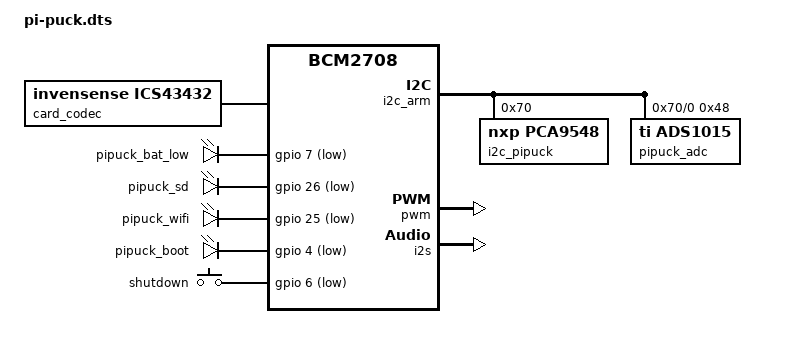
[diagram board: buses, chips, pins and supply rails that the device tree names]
/dts-v1/;
/plugin/;

/ {
	compatible = "brcm,bcm2708";

	/* LEDs (on Raspberry Pi pins) */
	fragment@0 {
		target-path = "/soc";
		__overlay__ {
			pipuck_leds {
				compatible = "gpio-leds";
				pipuck_bat_low {
					label = "pipuck_bat_low";
					gpios = <&gpio 7 1>;
					linux,default-trigger = "none";
					default-state = "off";
				};
				pipuck_sd {
					label = "pipuck_sd";
					gpios = <&gpio 26 1>;
					linux,default-trigger = "mmc0";
				};
				pipuck_wifi {
					label = "pipuck_wifi";
					gpios = <&gpio 25 1>;
					linux,default-trigger = "netdev";
				};
				pipuck_boot {
					label = "pipuck_boot";
					gpios = <&gpio 4 1>;
					linux,default-trigger = "heartbeat";
				};
			};
		};
	};

	/* Shutdown button key */
	fragment@1 {
		target-path = "/soc";
		__overlay__ {
			pipuck_shutdown_key {
				compatible = "gpio-keys";
				pipuck_shutdown: pipuck_shutdown {
					label = "shutdown";
					linux,code = <116>; // KEY_POWER
					gpios = <&gpio 6 1>;
					debounce-interval = <1000>;
				};
			};
		};
	};

	/* Disable Bluetooth to free up UART */
	fragment@2 {
		target = <&uart1>;
		__dormant__ {
			status = "disabled";
		};
	};
	fragment@3 {
		target = <&uart0>;
		__dormant__ {
			pinctrl-names = "default";
			pinctrl-0 = <&uart0_pins>;
			status = "okay";
		};
	};
	fragment@4 {
		target = <&uart0_pins>;
		__dormant__ {
			brcm,pins;
			brcm,function;
			brcm,pull;
		};
	};
	fragment@5 {
		target-path = "/aliases";
		__dormant__ {
			serial0 = "/soc/serial@7e201000";
			serial1 = "/soc/serial@7e215040";
		};
	};

	/* I2C devices */
	fragment@6 {
		target = <&i2c_arm>;
		__overlay__ {
			#address-cells = <1>;
			#size-cells = <0>;
			status = "okay";
			i2c_pipuck: i2c-switch@70 {
				compatible = "nxp,pca9548";
				#address-cells = <1>;
				#size-cells = <0>;
				reg = <0x70>;
				i2c_pipuck_0: i2c@0 {
					#address-cells = <1>;
					#size-cells = <0>;
					reg = <0>;
					/* Pi-puck board devices */
					/* FT903 I2C slave */
					/* ADC */
					pipuck_adc: ads1015@48 {
						compatible = "ti,ads1015";
						reg = <0x48>;
						#address-cells = <1>;
						#size-cells = <0>;
						pipuck_ain0: channel@4 {
							reg = <4>;
							ti,gain = <1>;
							ti,datarate = <0>;
						};
						pipuck_ain1: channel@5 {
							reg = <5>;
							ti,gain = <1>;
							ti,datarate = <0>;
						};
					};
				};
				i2c_pipuck_1: i2c@1 {
					#address-cells = <1>;
					#size-cells = <0>;
					reg = <1>;
					/* e-puck devices */
				};
				i2c_pipuck_2: i2c@2 {
					#address-cells = <1>;
					#size-cells = <0>;
					reg = <2>;
					/* Sensor Board 1 */
				};
				i2c_pipuck_3: i2c@3 {
					#address-cells = <1>;
					#size-cells = <0>;
					reg = <3>;
					/* Sensor Board 2 */
				};
				i2c_pipuck_4: i2c@4 {
					#address-cells = <1>;
					#size-cells = <0>;
					reg = <4>;
					/* Sensor Board 3 */
				};
				i2c_pipuck_5: i2c@5 {
					#address-cells = <1>;
					#size-cells = <0>;
					reg = <5>;
					/* Sensor Board 4 */
				};
				i2c_pipuck_6: i2c@6 {
					#address-cells = <1>;
					#size-cells = <0>;
					reg = <6>;
					/* e-puck */
					/* Sensor Board 5 */
				};
				i2c_pipuck_7: i2c@7 {
					#address-cells = <1>;
					#size-cells = <0>;
					reg = <7>;
					/* Sensor Board 6 */
				};
			};
		};
	};

	/* Software I2C */
	fragment@7 {
		target = <&i2c_arm>;
		__dormant__ {
			#address-cells = <1>;
			#size-cells = <0>;
			status = "disabled";
		};
	};
	fragment@8 {
		target-path = "/";
		__dormant__ {
			#address-cells = <1>;
			#size-cells = <1>;
			i2c_gpio: soft_i2c@1 {
				compatible = "i2c-gpio";
				sda-gpios = <&gpio 2 0>;
				scl-gpios = <&gpio 3 0>;
				i2c-gpio,delay-us = <2>; /* ~100 kHz */
				#address-cells = <1>;
				#size-cells = <0>;
				reg = <0x1 0x0>;
				soft_i2c_pipuck: i2c-switch@70 {
					compatible = "nxp,pca9548";
					#address-cells = <1>;
					#size-cells = <0>;
					reg = <0x70>;
					soft_i2c_pipuck_0: i2c@0 {
						#address-cells = <1>;
						#size-cells = <0>;
						reg = <0>;
						/* Pi-puck board devices */
						/* FT903 I2C slave */
						/* ADC */
						soft_i2c_pipuck_adc: ads1015@48 {
							compatible = "ti,ads1015";
							reg = <0x48>;
							#address-cells = <1>;
							#size-cells = <0>;
							soft_i2c_pipuck_ain0: channel@4 {
								reg = <4>;
								ti,gain = <1>;
								ti,datarate = <0>;
							};
							soft_i2c_pipuck_ain1: channel@5 {
								reg = <5>;
								ti,gain = <1>;
								ti,datarate = <0>;
							};
						};
					};
					soft_i2c_pipuck_1: i2c@1 {
						#address-cells = <1>;
						#size-cells = <0>;
						reg = <1>;
						/* e-puck devices */
					};
					soft_i2c_pipuck_2: i2c@2 {
						#address-cells = <1>;
						#size-cells = <0>;
						reg = <2>;
						/* Sensor Board 1 */
					};
					soft_i2c_pipuck_3: i2c@3 {
						#address-cells = <1>;
						#size-cells = <0>;
						reg = <3>;
						/* Sensor Board 2 */
					};
					soft_i2c_pipuck_4: i2c@4 {
						#address-cells = <1>;
						#size-cells = <0>;
						reg = <4>;
						/* Sensor Board 3 */
					};
					soft_i2c_pipuck_5: i2c@5 {
						#address-cells = <1>;
						#size-cells = <0>;
						reg = <5>;
						/* Sensor Board 4 */
					};
					soft_i2c_pipuck_6: i2c@6 {
						#address-cells = <1>;
						#size-cells = <0>;
						reg = <6>;
						/* e-puck */
						/* Sensor Board 5 */
					};
					soft_i2c_pipuck_7: i2c@7 {
						#address-cells = <1>;
						#size-cells = <0>;
						reg = <7>;
						/* Sensor Board 6 */
					};
				};
			};
		};
	};
	fragment@9 {
		target-path = "/aliases";
		__dormant__ {
			i2c_gpio = "/soft_i2c@1";
		};
	};
	fragment@10 {
		target-path = "/__symbols__";
		__dormant__ {
			i2c_gpio = "/soft_i2c@1";
		};
	};

	/* External ADC channels */
	fragment@11 {
		target = <&pipuck_adc>;
		__dormant__ {
			#address-cells = <1>;
			#size-cells = <0>;
			pipuck_ain2: channel@6 {
				reg = <6>;
				ti,gain = <2>;
				ti,datarate = <4>;
			};
		};
	};
	fragment@12 {
		target = <&soft_i2c_pipuck_adc>;
		__dormant__ {
			#address-cells = <1>;
			#size-cells = <0>;
			soft_i2c_pipuck_ain2: channel@6 {
				reg = <6>;
				ti,gain = <2>;
				ti,datarate = <4>;
			};
		};
	};
	fragment@13 {
		target = <&pipuck_adc>;
		__dormant__ {
			#address-cells = <1>;
			#size-cells = <0>;
			pipuck_ain3: channel@7 {
				reg = <7>;
				ti,gain = <2>;
				ti,datarate = <4>;
			};
		};
	};
	fragment@14 {
		target = <&soft_i2c_pipuck_adc>;
		__dormant__ {
			#address-cells = <1>;
			#size-cells = <0>;
			soft_i2c_pipuck_ain3: channel@7 {
				reg = <7>;
				ti,gain = <2>;
				ti,datarate = <4>;
			};
		};
	};

	/* PWM audio output on GPIO pin */
	fragment@15 {
		target = <&gpio>;
		__overlay__ {
			pwm_pins: pwm_pins {
				brcm,pins = <12>;
				brcm,function = <4>; // Alt0
			};
			pipuck_audio_enable_pins: pipuck_audio_enable_pins {
				brcm,pins = <22>;
				brcm,function = <1>; // GPIO out
			};
		};
	};
	fragment@16 {
		target = <&pwm>;
		__overlay__ {
			pinctrl-names = "default";
			pinctrl-0 = <&pwm_pins &pipuck_audio_enable_pins>;
			status = "okay";
		};
	};

	/* I2S microphone audio input */
	/* (based on https://www.raspberrypi.org/forums/viewtopic.php?t=173640) */
	fragment@17 {
		target = <&i2s>;
		__overlay__ {
			status = "okay";
		};
	};
	fragment@18 {
		target-path = "/";
		__overlay__ {
			card_codec: card-codec {
				#sound-dai-cells = <0>;
				compatible = "invensense,ics43432";
				status = "okay";
			};
		};
	};
	fragment@19 {
		target = <&sound>;
		slave_overlay: __overlay__ {
				compatible = "simple-audio-card";
				simple-audio-card,format = "i2s";
				simple-audio-card,name = "pipuck-mic";
				status = "okay";
				simple-audio-card,cpu {
					sound-dai = <&i2s>;
				};
				dailink0_slave: simple-audio-card,codec {
					sound-dai = <&card_codec>;
				};
		};
	};

	__overrides__ {
		shutdown_key_disable = <0>,"-1";
		shutdown_key_debounce = <&pipuck_shutdown>,"debounce-interval:0";
		bluetooth_disable = <0>,"+2+3+4+5";
		ain2 = <0>,"+11";
		ain2_soft_i2c = <0>,"+12";
		ain2_gain = <&pipuck_ain2>,"ti,gain:0",
		            <&soft_i2c_pipuck_ain2>,"ti,gain:0";
		ain2_datarate = <&pipuck_ain2>,"ti,datarate:0",
		                <&soft_i2c_pipuck_ain2>,"ti,datarate:0";
		ain3 = <0>,"+13";
		ain3_soft_i2c = <0>,"+14";
		ain3_gain = <&pipuck_ain3>,"ti,gain:0",
		            <&soft_i2c_pipuck_ain3>,"ti,gain:0";
		ain3_datarate = <&pipuck_ain3>,"ti,datarate:0",
		                <&soft_i2c_pipuck_ain3>,"ti,datarate:0";
		soft_i2c = <0>,"-6+7+8+9+10";
		soft_i2c_gpio_delay_us = <&i2c_gpio>,"i2c-gpio,delay-us:0";
	};
};
